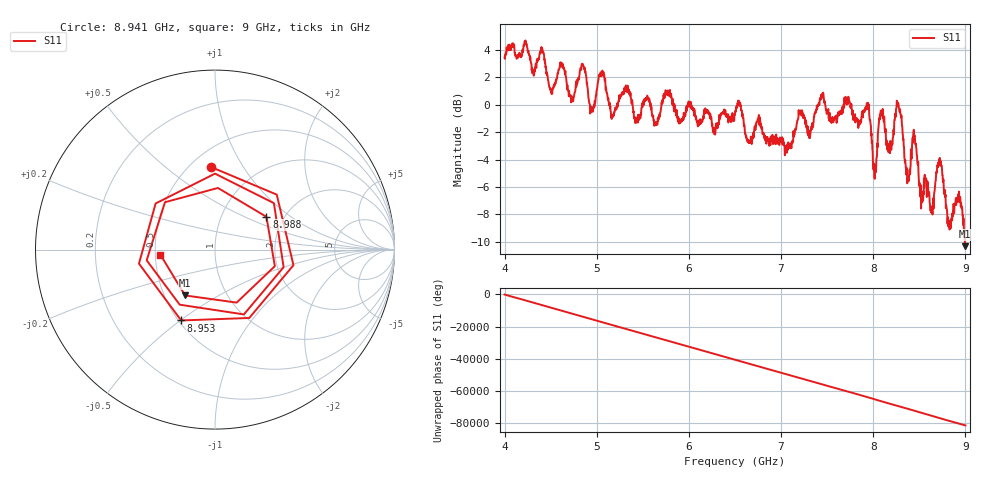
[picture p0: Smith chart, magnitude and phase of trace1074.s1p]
! Created with skrf 1.8.0 (http://scikit-rf.org).
# Hz S RI R 50.0
!freq ReS11 ImS11
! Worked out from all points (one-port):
!   1601 points, 4 GHz to 9 GHz, reference 50 ohm
!   lowest |S11| = -10.3 dB at 8.997 GHz (marker M1), VSWR 1.88, Z = 31.8 - j17.9 ohm
!   |S11| at or under -10 dB: 8.994582 GHz to end of sweep
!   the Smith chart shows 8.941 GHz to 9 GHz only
!   S11 on the Smith chart (normalised r, x): 8.941 GHz: 0.63, +0.73; 8.953 GHz: 0.52, -0.50; 8.988 GHz: 1.63, +0.67; 9 GHz: 0.53, -0.03
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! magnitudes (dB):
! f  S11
! 4 GHz  3.4
! 4.625 GHz  3.0
! 4.728 GHz  0.4
! 4.844 GHz  3.0
! 4.944 GHz  -0.5
! 5.05 GHz  2.2
! 5.169 GHz  -0.9
! 5.25 GHz  0.4
! 5.875 GHz  -0.8
! 6.5 GHz  -0.7
! 7.125 GHz  -2.7
! 7.75 GHz  0.1
! 7.941 GHz  0.1
! 8.016 GHz  -5.4
! 8.084 GHz  -0.4
! 8.175 GHz  -3.2
! 8.272 GHz  0.1
! 8.375 GHz  -5.6
! 8.447 GHz  -2.2
! 8.522 GHz  -6.9
! 8.638 GHz  -7.6
! 8.719 GHz  -4.1
! 8.825 GHz  -8.8
! 8.941 GHz  -6.7
! 8.953 GHz  -7.2
! 8.988 GHz  -9.4
! 8.997 GHz  -10.3
! 9 GHz  -10.3
